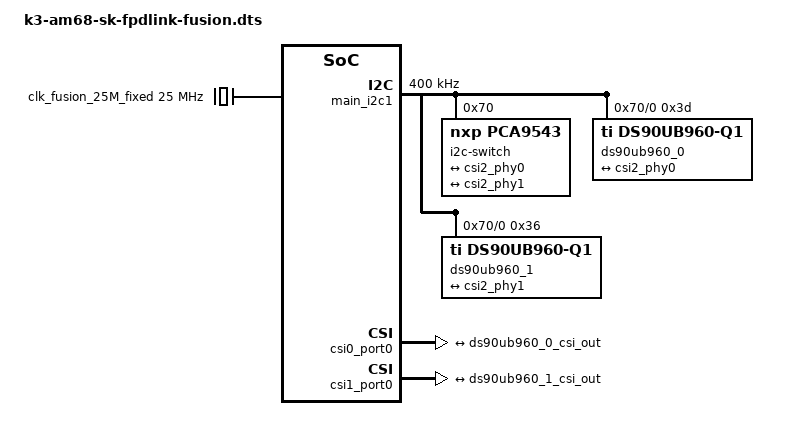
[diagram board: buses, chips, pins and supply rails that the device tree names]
// SPDX-License-Identifier: GPL-2.0
/*
 * Copyright (C) 2023 Texas Instruments Incorporated - https://www.ti.com/
 */

/dts-v1/;
/plugin/;

#include <dt-bindings/pinctrl/k3.h>

/ {
	fragment@101 {
		target-path = "/";

		__overlay__ {
			clk_fusion_25M_fixed: fixed-clock-25M {
				compatible = "fixed-clock";
				#clock-cells = <0>;
				clock-frequency = <25000000>;
			};
		};
	};
};

&main_pmx0 {
	main_i2c1_pins_default: main-i2c1-pins-default {
		pinctrl-single,pins = <
			J721S2_IOPAD(0x0ac, PIN_INPUT, 13) /* (AC25) MCASP0_AXR15.I2C1_SCL */
			J721S2_IOPAD(0x0b0, PIN_INPUT, 13) /* (AD26) MCASP1_AXR3.I2C1_SDA */
		>;
	};
};

&main_i2c1 {
	status = "okay";
	#address-cells = <1>;
	#size-cells = <0>;
	pinctrl-names = "default";
	pinctrl-0 = <&main_i2c1_pins_default>;
	clock-frequency = <400000>;

	i2c-switch@70 {
		compatible = "nxp,pca9543";
		#address-cells = <1>;
		#size-cells = <0>;
		reg = <0x70>;

		cam0_i2c: i2c@0 {
			#address-cells = <1>;
			#size-cells = <0>;
			reg = <0>;

			ds90ub960_0: deser@3d {
				compatible = "ti,ds90ub960-q1";

				reg-names = "main", "ser0", "ser1", "ser2", "ser3";
				reg       = <0x3d>, <0x44>, <0x45>, <0x46>, <0x47>;

				clocks = <&clk_fusion_25M_fixed>;

				i2c-alias-pool = /bits/ 16 <0x4a 0x4b 0x4c 0x4d 0x4e 0x4f>;

				data-rate = <1600000000>;

				#clock-cells = <0>;

				ds90ub960_0_ports: ports {
					#address-cells = <1>;
					#size-cells = <0>;

					/* CSI-2 */
					port@4 {
						reg = <4>;
						ds90ub960_0_csi_out: endpoint {
							clock-lanes = <0>;
							data-lanes = <1 2 3 4>;
							remote-endpoint = <&csi2_phy0>;
						};
					};
				};

				ds90ub960_0_atr: i2c-atr {
					#address-cells = <1>;
					#size-cells = <0>;
				};
			};

			ds90ub960_1: deser@36 {
				compatible = "ti,ds90ub960-q1";

				reg-names = "main", "ser0", "ser1", "ser2", "ser3";
				reg       = <0x36>, <0x54>, <0x55>, <0x56>, <0x57>;

				clocks = <&clk_fusion_25M_fixed>;

				i2c-alias-pool = /bits/ 16 <0x5a 0x5b 0x5c 0x5d 0x5e 0x5f>;

				data-rate = <1600000000>;

				#clock-cells = <0>;

				ds90ub960_1_ports: ports {
					#address-cells = <1>;
					#size-cells = <0>;

					/* CSI-2 */
					port@4 {
						reg = <4>;
						ds90ub960_1_csi_out: endpoint {
							clock-lanes = <0>;
							data-lanes = <1 2 3 4>;
							remote-endpoint = <&csi2_phy1>;
						};
					};
				};

				ds90ub960_1_atr: i2c-atr {
					#address-cells = <1>;
					#size-cells = <0>;
				};
			};
		};
	};
};

&csi0_port0 {
	status = "okay";

	csi2_phy0: endpoint {
		remote-endpoint = <&ds90ub960_0_csi_out>;
		clock-lanes = <0>;
		data-lanes = <1 2 3 4>;
	};
};

&csi1_port0 {
	status = "okay";

	csi2_phy1: endpoint {
		remote-endpoint = <&ds90ub960_1_csi_out>;
		clock-lanes = <0>;
		data-lanes = <1 2 3 4>;
	};
};
